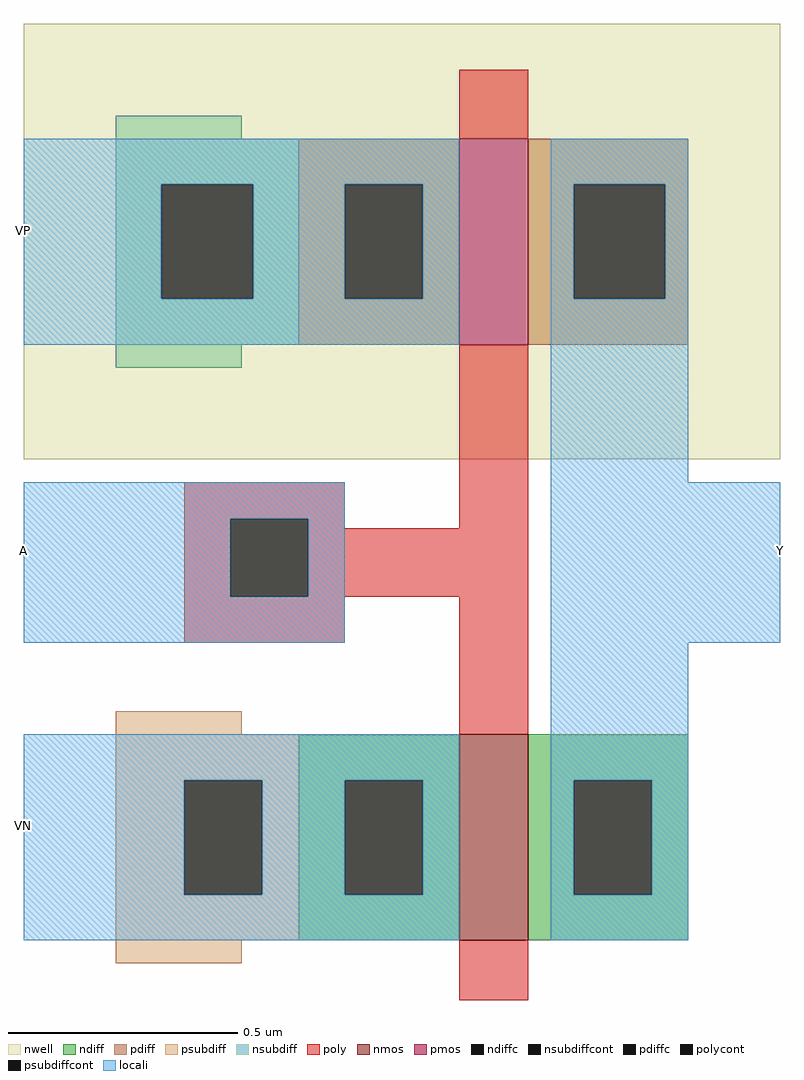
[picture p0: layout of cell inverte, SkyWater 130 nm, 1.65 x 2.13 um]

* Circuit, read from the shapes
.subckt inverte A VP VN Y
XM1 Y A VN VN sky130_fd_pr__nfet_01v8 w=0.45 l=0.15
XM2 Y A VP VP sky130_fd_pr__pfet_01v8 w=0.45 l=0.15
.ends

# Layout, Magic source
magic
tech sky130A
magscale 1 2
<< nwell >>
rect -180 150 150 340
<< nmos >>
rect 10 -60 40 30
<< pmos >>
rect 10 200 40 290
<< ndiff >>
rect -60 10 10 30
rect -60 -40 -40 10
rect -6 -40 10 10
rect -60 -60 10 -40
rect 40 10 110 30
rect 40 -40 60 10
rect 94 -40 110 10
rect 40 -60 110 -40
<< pdiff >>
rect -60 270 10 290
rect -60 220 -40 270
rect -6 220 10 270
rect -60 200 10 220
rect 40 270 110 290
rect 40 220 60 270
rect 100 220 110 270
rect 40 200 110 220
<< ndiffc >>
rect -40 -40 -6 10
rect 60 -40 94 10
<< pdiffc >>
rect -40 220 -6 270
rect 60 220 100 270
<< psubdiff >>
rect -140 30 -85 40
rect -140 10 -60 30
rect -140 -40 -110 10
rect -76 -40 -60 10
rect -140 -60 -60 -40
rect -140 -70 -85 -60
<< nsubdiff >>
rect -140 290 -85 300
rect -140 270 -60 290
rect -140 220 -120 270
rect -80 220 -60 270
rect -140 200 -60 220
rect -140 190 -85 200
<< psubdiffcont >>
rect -110 -40 -76 10
<< nsubdiffcont >>
rect -120 220 -80 270
<< poly >>
rect 10 290 40 320
rect -110 124 -40 140
rect -110 90 -90 124
rect -56 120 -40 124
rect 10 120 40 200
rect -56 90 40 120
rect -110 70 -40 90
rect 10 30 40 90
rect 10 -86 40 -60
<< polycont >>
rect -90 90 -56 124
<< locali >>
rect -180 270 10 290
rect -180 220 -120 270
rect -80 220 -40 270
rect -6 220 10 270
rect -180 200 10 220
rect 50 270 110 290
rect 50 220 60 270
rect 100 220 110 270
rect 50 140 110 220
rect -180 124 -40 140
rect -180 90 -90 124
rect -56 90 -40 124
rect -180 70 -40 90
rect 50 70 150 140
rect -180 10 10 30
rect -180 -40 -110 10
rect -76 -40 -40 10
rect -6 -40 10 10
rect -180 -60 10 -40
rect 50 10 110 70
rect 50 -40 60 10
rect 94 -40 110 10
rect 50 -60 110 -40
<< labels >>
rlabel locali -180 110 -180 110 7 A
port 1 w
rlabel locali -180 250 -180 250 7 VP
port 2 w
rlabel locali -180 -10 -180 -10 7 VN
port 3 w
rlabel locali 150 110 150 110 3 Y
port 4 e
<< end >>
